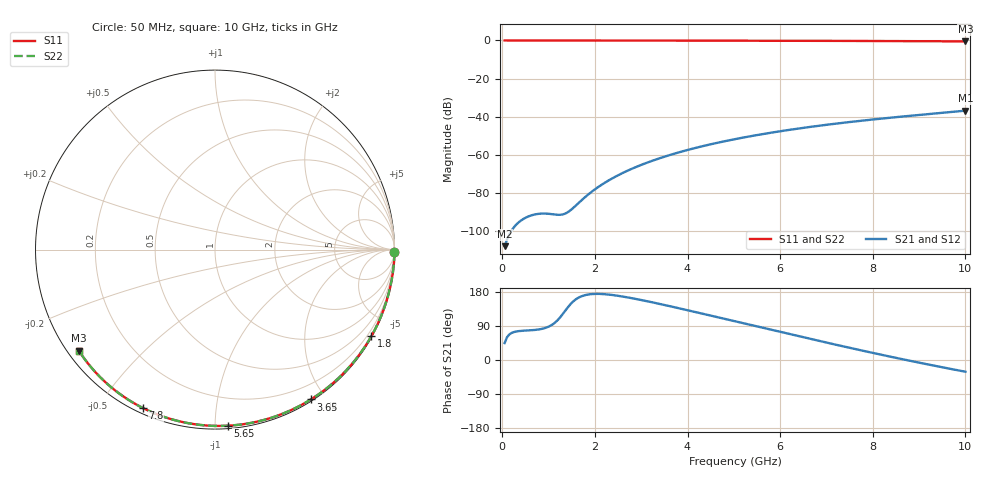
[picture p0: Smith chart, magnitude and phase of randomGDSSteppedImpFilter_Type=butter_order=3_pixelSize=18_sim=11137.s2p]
! freq	dB(S11)	phase(S11)	dB(S12)	phase(S12)
!  dB(S21)	phase(S21)	dB(S22)	phase(S22)
!S-par simulation data
#  GHz  S  DB  R 50
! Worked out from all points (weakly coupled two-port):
!   200 points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, 50 MHz to 10 GHz, reference 50 ohm
!   highest |S21| = -36.84 dB at 10 GHz (marker M1); lowest = -108.0 dB at 50 MHz (marker M2)
!   lowest |S11| = -0.5 dB at 10 GHz (marker M3), VSWR 35.26, Z = 1.57 - j16.5 ohm
!   |S11| at or under -10 dB: nowhere
!   |S22| runs from -0.5 to 0.0 dB; largest |S21 - S12| = 0
!   S11 on the Smith chart (normalised r, x): 50 MHz: open; 1.8 GHz: 0.03, -3.87; 3.65 GHz: 0.02, -1.83; 5.65 GHz: 0.02, -1.07; 7.8 GHz: 0.02, -0.64; 10 GHz: 0.03, -0.33
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0.05  -0.00 -0.8  -107.97 44.6  -107.97 44.6  -0.00 -0.8
0.45  -0.01 -7.4  -93.76 77.3  -93.76 77.3  -0.01 -7.4
0.9  -0.02 -14.6  -90.85 83.6  -90.85 83.6  -0.02 -14.6
1.75  -0.04 -28.2  -83.03 169.8  -83.03 169.8  -0.04 -28.2
1.8  -0.04 -29.0  -81.96 171.5  -81.96 171.5  -0.04 -29.0
1.9  -0.04 -30.6  -79.98 173.6  -79.98 173.6  -0.04 -30.6
2.05  -0.04 -32.9  -77.27 174.5  -77.27 174.5  -0.04 -32.9
2.25  -0.05 -36.1  -74.13 173.2  -74.13 173.2  -0.05 -36.1
2.45  -0.05 -39.2  -71.39 170.3  -71.39 170.3  -0.05 -39.2
2.65  -0.05 -42.2  -68.96 166.4  -68.96 166.4  -0.05 -42.2
3  -0.06 -47.6  -65.31 158.3  -65.31 158.3  -0.06 -47.6
3.4  -0.07 -53.6  -61.80 147.9  -61.80 147.9  -0.07 -53.6
3.65  -0.08 -57.4  -59.89 141.1  -59.89 141.1  -0.08 -57.4
4.3  -0.09 -66.9  -55.63 122.8  -55.63 122.8  -0.09 -66.9
5.05  -0.12 -77.6  -51.67 101.3  -51.67 101.3  -0.12 -77.6
5.65  -0.14 -85.9  -49.03 84.1  -49.03 84.1  -0.14 -85.9
6.15  -0.16 -92.7  -47.10 69.9  -47.10 69.9  -0.16 -92.7
6.7  -0.19 -100.1  -45.21 54.3  -45.21 54.3  -0.19 -100.1
7.8  -0.27 -114.4  -42.01 24.1  -42.01 24.1  -0.27 -114.4
8.35  -0.31 -121.6  -40.62 9.5  -40.62 9.5  -0.31 -121.6
9.2  -0.39 -132.6  -38.65 -11.9  -38.65 -11.9  -0.39 -132.6
10  -0.49 -143.4  -36.84 -30.9  -36.84 -30.9  -0.49 -143.4
